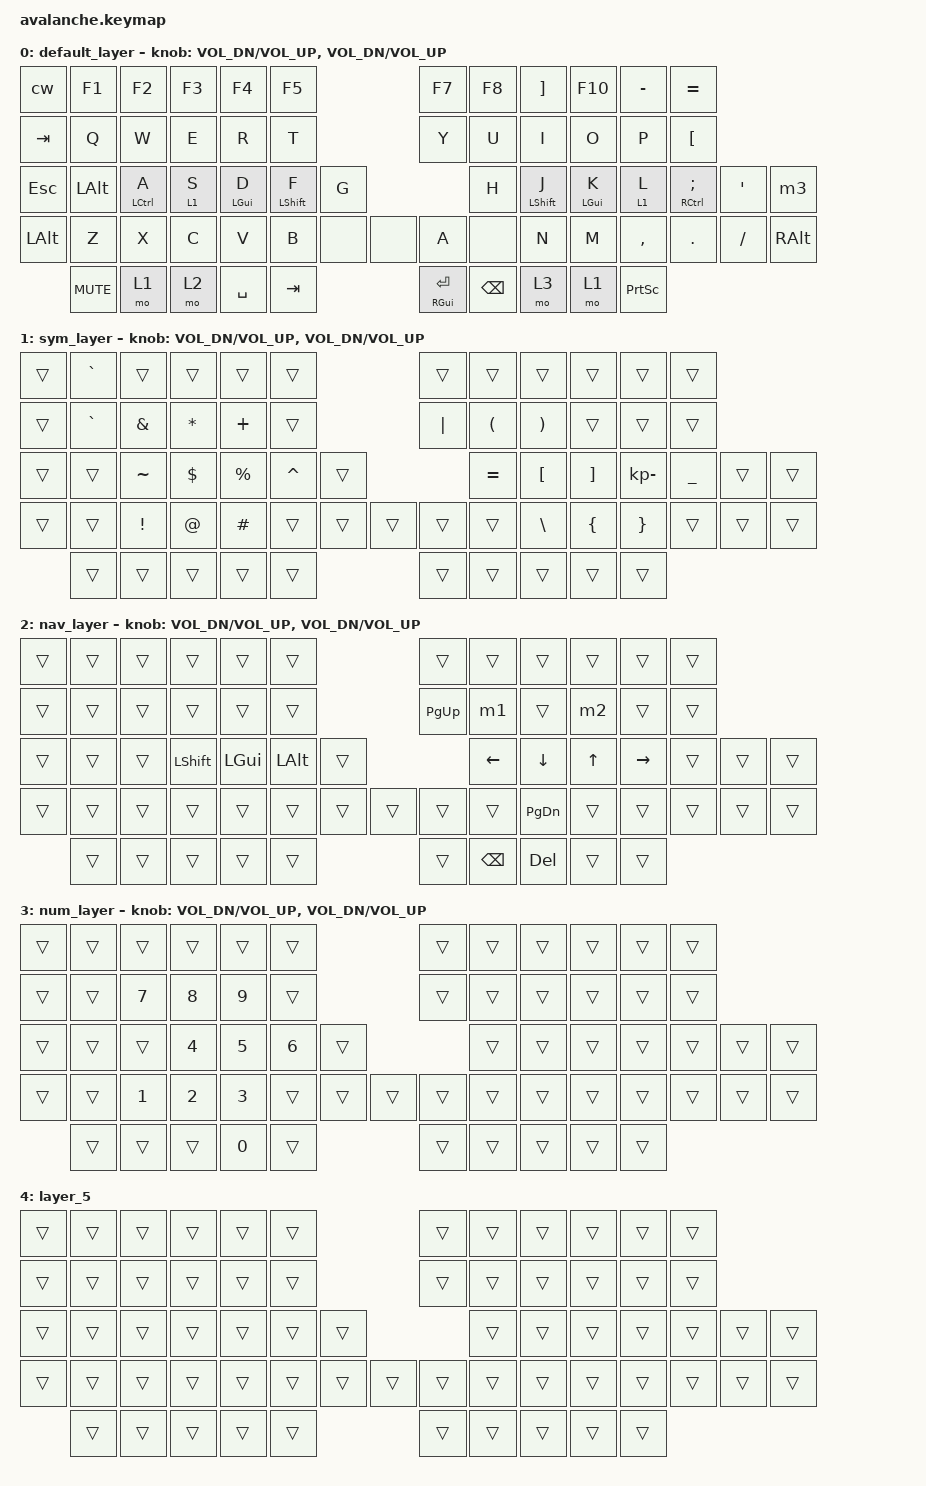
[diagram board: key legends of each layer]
/*
 * ZMK Keymap for Avalanche v4
 * Based on user's Vial screenshots and Avalanche v4 physical layout
 */

#include <behaviors.dtsi>
#include <dt-bindings/zmk/keys.h>

// Layer Definitions

#define BASE 0
#define NAV  1
#define SYM  2
#define NUM  3
#define GAME 4

/ {
    behaviors {
        // Home Row Mods: Tap for key, Hold for modifier

        hm: homerow_mods {
            compatible = "zmk,behavior-hold-tap";
            display-name = "Homerow Mods";
            #binding-cells = <2>;
            tapping-term-ms = <150>;
            quick-tap-ms = <100>;
            flavor = "tap-preferred";
            bindings = <&kp>, <&kp>;
        };

        // Tap Dance for the Right Thumb TD(0) key

        td0: tap_dance_0 {
            compatible = "zmk,behavior-tap-dance";
            display-name = "Tap Dance Enter";
            #binding-cells = <0>;
            tapping-term-ms = <200>;
            bindings = <&kp RET>, <&kp RET>;
        };

        // Caps Word behavior

        cw: caps_word {
            compatible = "zmk,behavior-caps-word";
            display-name = "Caps Word";
            #binding-cells = <0>;
            continue-list = <UNDERSCORE MINUS BACKSPACE>;
        };

        EnterRMCD: EnterRMCD {
            compatible = "zmk,behavior-hold-tap";
            label = "ENTERRMCD";
            bindings = <&kp>, <&kp>;

            #binding-cells = <2>;
            tapping-term-ms = <150>;
            flavor = "tap-preferred";
            quick-tap-ms = <100>;
        };
    };

    macros {
        m1: m1 {
            compatible = "zmk,behavior-macro";
            #binding-cells = <0>;
            bindings =
                <&macro_press>,
                <&kp LEFT_GUI &kp LEFT_SHIFT>,
                <&macro_tap>,
                <&kp LEFT_BRACKET>,
                <&macro_release>,
                <&kp LEFT_COMMAND &kp LEFT_SHIFT>;

            display-name = "M1";
        };

        m2: m2 {
            compatible = "zmk,behavior-macro";
            #binding-cells = <0>;
            bindings =
                <&macro_press>,
                <&kp LEFT_GUI &kp LEFT_SHIFT>,
                <&macro_tap>,
                <&kp RIGHT_BRACKET>,
                <&macro_release>,
                <&kp LEFT_COMMAND &kp LEFT_SHIFT>;

            display-name = "M2";
        };

        m3: m3 {
            compatible = "zmk,behavior-macro";
            #binding-cells = <0>;
            bindings =
                <&macro_press>,
                <&kp LEFT_GUI &kp LEFT_SHIFT>,
                <&macro_tap>,
                <&kp Y>,
                <&macro_release>;

            display-name = "M3";
        };

        ChangeInput: ChangeInput {
            compatible = "zmk,behavior-macro";
            #binding-cells = <0>;
            bindings = <&none>;
            display-name = "Change Input";
        };
    };

    keymap {
        compatible = "zmk,keymap";

        /* Layer 0: Base */

        default_layer {
            bindings = <
&cw       &kp F1      &kp F2       &kp F3   &kp F4      &kp F5                      &kp F7                      &kp F8    &kp RBKT      &kp F10     &kp MINUS  &kp EQUAL
&kp TAB   &kp Q       &kp W        &kp E    &kp R       &kp T                       &kp Y                       &kp U     &kp I         &kp O       &kp P      &kp LBKT
&kp ESC   &kp LALT    &hm LCTRL A  &lt 1 S  &hm LGUI D  &hm LSHIFT F  &kp G                                     &kp H     &hm LSHIFT J  &hm LGUI K  &lt 1 L    &hm RCTRL SEMI  &kp SQT   &m3
&kp LALT  &kp Z       &kp X        &kp C    &kp V       &kp B         &none  &none  &kp A                       &none     &kp N         &kp M       &kp COMMA  &kp DOT         &kp FSLH  &kp RALT
          &kp C_MUTE  &mo 1        &mo 2    &kp SPACE   &kp TAB                     &EnterRMCD RIGHT_GUI ENTER  &kp BSPC  &mo 3         &mo 1       &kp PSCRN
            >;

            sensor-bindings =
                <&inc_dec_kp C_VOL_DN C_VOL_UP>,
                <&inc_dec_kp C_VOL_DN C_VOL_UP>;
        };

        sym_layer {
            bindings = <
&trans  &kp GRAVE  &trans           &trans       &trans       &trans                     &trans    &trans     &trans            &trans             &trans           &trans
&trans  &kp GRAVE  &kp AMPS         &kp STAR     &kp PLUS     &trans                     &kp PIPE  &kp LPAR   &kp RPAR          &trans             &trans           &trans
&trans  &trans     &kp TILDE        &kp DOLLAR   &kp PERCENT  &kp CARET  &trans                    &kp EQUAL  &kp LEFT_BRACKET  &kp RIGHT_BRACKET  &kp KP_MINUS     &kp UNDERSCORE  &trans  &trans
&trans  &trans     &kp EXCLAMATION  &kp AT_SIGN  &kp HASH     &trans     &trans  &trans  &trans    &trans     &kp BACKSLASH     &kp LBRC           &kp RIGHT_BRACE  &trans          &trans  &trans
        &trans     &trans           &trans       &trans       &trans                     &trans    &trans     &trans            &trans             &trans
            >;

            sensor-bindings =
                <&inc_dec_kp C_VOL_DN C_VOL_UP>,
                <&inc_dec_kp C_VOL_DN C_VOL_UP>;
        };

        nav_layer {
            bindings = <
&trans  &trans  &trans  &trans          &trans        &trans                        &trans     &trans         &trans      &trans  &trans     &trans
&trans  &trans  &trans  &trans          &trans        &trans                        &kp PG_UP  &m1            &trans      &m2     &trans     &trans
&trans  &trans  &trans  &kp LEFT_SHIFT  &kp LEFT_GUI  &kp LEFT_ALT  &trans                     &kp LEFT       &kp DOWN    &kp UP  &kp RIGHT  &trans  &trans  &trans
&trans  &trans  &trans  &trans          &trans        &trans        &trans  &trans  &trans     &trans         &kp PG_DN   &trans  &trans     &trans  &trans  &trans
        &trans  &trans  &trans          &trans        &trans                        &trans     &kp BACKSPACE  &kp DELETE  &trans  &trans
            >;

            sensor-bindings =
                <&inc_dec_kp C_VOL_DN C_VOL_UP>,
                <&inc_dec_kp C_VOL_DN C_VOL_UP>;
        };

        num_layer {
            bindings = <
&trans  &trans  &trans  &trans  &trans  &trans                  &trans  &trans  &trans  &trans  &trans  &trans
&trans  &trans  &kp N7  &kp N8  &kp N9  &trans                  &trans  &trans  &trans  &trans  &trans  &trans
&trans  &trans  &trans  &kp N4  &kp N5  &kp N6  &trans                  &trans  &trans  &trans  &trans  &trans  &trans  &trans
&trans  &trans  &kp N1  &kp N2  &kp N3  &trans  &trans  &trans  &trans  &trans  &trans  &trans  &trans  &trans  &trans  &trans
        &trans  &trans  &trans  &kp N0  &trans                  &trans  &trans  &trans  &trans  &trans
            >;

            sensor-bindings =
                <&inc_dec_kp C_VOL_DN C_VOL_UP>,
                <&inc_dec_kp C_VOL_DN C_VOL_UP>;
        };

        layer_5 {
            bindings = <
&trans  &trans  &trans  &trans  &trans  &trans                  &trans  &trans  &trans  &trans  &trans  &trans
&trans  &trans  &trans  &trans  &trans  &trans                  &trans  &trans  &trans  &trans  &trans  &trans
&trans  &trans  &trans  &trans  &trans  &trans  &trans                  &trans  &trans  &trans  &trans  &trans  &trans  &trans
&trans  &trans  &trans  &trans  &trans  &trans  &trans  &trans  &trans  &trans  &trans  &trans  &trans  &trans  &trans  &trans
        &trans  &trans  &trans  &trans  &trans                  &trans  &trans  &trans  &trans  &trans
            >;
        };
    };
};
